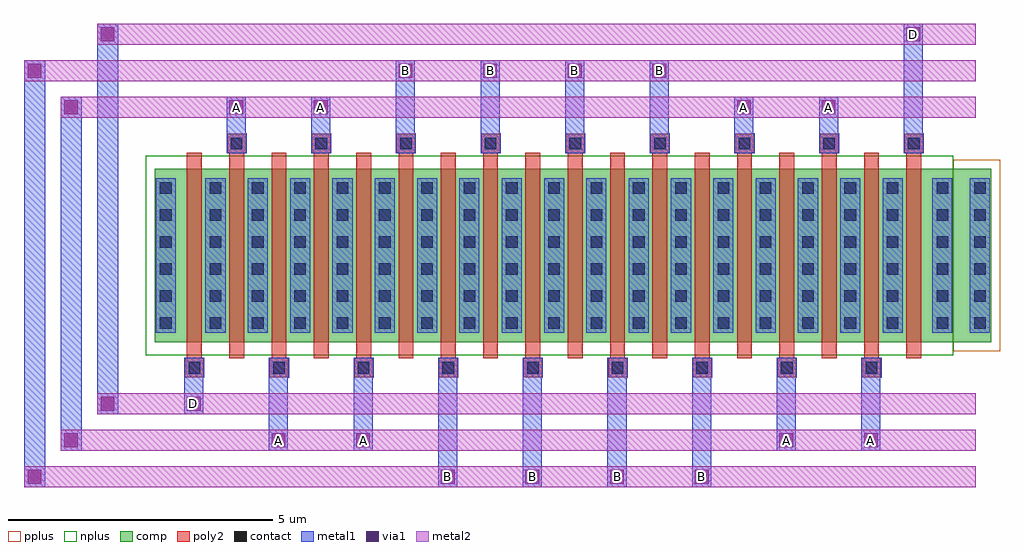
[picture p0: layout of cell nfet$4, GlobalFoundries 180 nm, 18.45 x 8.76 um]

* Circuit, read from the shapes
.subckt nfet$4 A B D
XM1 n1 D n2 VSUBS nfet_03v3 w=3.282u l=0.28u
XM2 n3 A n1 VSUBS nfet_03v3 w=3.282u l=0.28u
XM3 n4 A n3 VSUBS nfet_03v3 w=3.282u l=0.28u
XM4 n5 A n4 VSUBS nfet_03v3 w=3.282u l=0.28u
XM5 n6 A n5 VSUBS nfet_03v3 w=3.282u l=0.28u
XM6 n7 B n6 VSUBS nfet_03v3 w=3.282u l=0.28u
XM7 n8 B n7 VSUBS nfet_03v3 w=3.282u l=0.28u
XM8 n9 B n8 VSUBS nfet_03v3 w=3.282u l=0.28u
XM9 n10 B n9 VSUBS nfet_03v3 w=3.282u l=0.28u
XM10 n11 B n10 VSUBS nfet_03v3 w=3.282u l=0.28u
XM11 n12 B n11 VSUBS nfet_03v3 w=3.282u l=0.28u
XM12 n13 B n12 VSUBS nfet_03v3 w=3.282u l=0.28u
XM13 n14 B n13 VSUBS nfet_03v3 w=3.282u l=0.28u
XM14 n15 A n14 VSUBS nfet_03v3 w=3.282u l=0.28u
XM15 n16 A n15 VSUBS nfet_03v3 w=3.282u l=0.28u
XM16 n17 A n16 VSUBS nfet_03v3 w=3.282u l=0.28u
XM17 n18 A n17 VSUBS nfet_03v3 w=3.282u l=0.28u
XM18 VSUBS D n18 VSUBS nfet_03v3 w=3.282u l=0.28u
.ends

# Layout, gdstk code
import gdstk
lib = gdstk.Library(unit=1e-6, precision=1e-09)
def R(c, l, rs):  # rectangles x0, y0, x1, y1
    for r in rs: c.add(gdstk.rectangle(r[:2], r[2:], *l))
def A(c, l, x, y, w, h, nx, ny, dx, dy):  # array of equal rectangles
    R(c, l, [(x+i*dx, y+j*dy, x+i*dx+w, y+j*dy+h) for i in range(nx) for j in range(ny)])
comp = (22, 0)
poly2 = (30, 0)
pplus = (31, 0)
nplus = (32, 0)
contact = (33, 0)
metal1 = (34, 0)
via1 = (35, 0)
metal2 = (36, 0)

nfet_4 = lib.new_cell('nfet$4')
R(nfet_4, comp, [(-0.42,0,0,3.282), (0,0,14.26,3.282), (14.26,0,14.68,3.282), (14.68,0,15.39,3.282)])
A(nfet_4, poly2, 0.15, -0.66, 0.36, 0.36, 9, 1, 1.6, 0)
A(nfet_4, poly2, 0.19, -0.3, 0.28, 3.882, 18, 1, 0.8, 0)
A(nfet_4, poly2, 0.95, 3.581, 0.36, 0.36, 9, 1, 1.6, 0)
R(nfet_4, pplus, [(14.68,-0.17,15.56,3.452)])
R(nfet_4, nplus, [(-0.59,-0.24,14.68,3.522)])
A(nfet_4, contact, 0.22, -0.59, 0.22, 0.22, 9, 1, 1.6, 0)
A(nfet_4, contact, -0.32, 0.256, 0.22, 0.22, 1, 6, 0, 0.51)
A(nfet_4, contact, 0.62, 0.256, 0.22, 0.22, 17, 6, 0.8, 0.51)
A(nfet_4, contact, 14.36, 0.256, 0.22, 0.22, 1, 6, 0, 0.51)
A(nfet_4, contact, 15.07, 0.256, 0.22, 0.22, 1, 6, 0, 0.51)
A(nfet_4, contact, 1.02, 3.651, 0.22, 0.22, 9, 1, 1.6, 0)
A(nfet_4, metal1, 4.94, -2.741, 0.36, 2.452, 4, 1, 1.6, 0)
A(nfet_4, metal1, 0.14, -0.671, 0.38, 0.382, 9, 1, 1.6, 0)
A(nfet_4, metal1, 0.54, 0.176, 0.38, 2.93, 17, 1, 0.8, 0)
A(nfet_4, metal1, 0.94, 3.57, 0.38, 0.382, 9, 1, 1.6, 0)
A(nfet_4, metal1, 4.14, 3.57, 0.36, 1.762, 4, 1, 1.6, 0)
R(nfet_4, metal1, [(-2.89,-2.74,-2.49,5.332), (-2.2,-2.051,-1.8,4.643), (1.74,-2.051,2.1,-0.289), (3.34,-2.051,3.7,-0.289), (11.34,-2.051,11.7,-0.289), (12.94,-2.051,13.3,-0.289), (-1.51,-1.361,-1.11,6.023), (0.14,-1.361,0.5,-0.289), (-0.4,0.176,-0.02,3.106), (14.28,0.176,14.66,3.106), (14.99,0.176,15.37,3.106), (0.94,3.57,1.3,4.642), (2.54,3.57,2.9,4.642), (10.54,3.57,10.9,4.642), (12.14,3.57,12.5,4.642), (13.74,3.57,14.1,6.022)])
A(nfet_4, via1, 4.99, -2.671, 0.26, 0.26, 4, 1, 1.6, 0)
A(nfet_4, via1, 4.19, 5.002, 0.26, 0.26, 4, 1, 1.6, 0)
R(nfet_4, via1, [(-2.82,-2.671,-2.56,-2.411), (-2.13,-1.981,-1.87,-1.721), (1.79,-1.981,2.05,-1.721), (3.39,-1.981,3.65,-1.721), (11.39,-1.981,11.65,-1.721), (12.99,-1.981,13.25,-1.721), (-1.44,-1.291,-1.18,-1.031), (0.19,-1.291,0.45,-1.031), (-2.13,4.312,-1.87,4.572), (0.99,4.312,1.25,4.572), (2.59,4.312,2.85,4.572), (10.59,4.312,10.85,4.572), (12.19,4.312,12.45,4.572), (-2.82,5.002,-2.56,5.262), (-1.44,5.692,-1.18,5.952), (13.79,5.692,14.05,5.952)])
A(nfet_4, metal2, 0, -2.741, 15.1, 0.4, 1, 3, 0, 0.69)
A(nfet_4, metal2, 0, 4.242, 15.1, 0.4, 1, 3, 0, 0.69)
R(nfet_4, metal2, [(-2.89,-2.741,0,-2.341), (-2.2,-2.051,0,-1.651), (-1.51,-1.361,0,-0.961), (-2.2,4.242,0,4.642), (-2.89,4.932,0,5.332), (-1.51,5.622,0,6.022)])
nfet_4.add(gdstk.Label('A', (1.12,4.442), layer=36, texttype=10))
nfet_4.add(gdstk.Label('A', (2.72,4.442), layer=36, texttype=10))
nfet_4.add(gdstk.Label('A', (10.72,4.442), layer=36, texttype=10))
nfet_4.add(gdstk.Label('A', (12.32,4.442), layer=36, texttype=10))
nfet_4.add(gdstk.Label('B', (4.32,5.132), layer=36, texttype=10))
nfet_4.add(gdstk.Label('B', (5.92,5.132), layer=36, texttype=10))
nfet_4.add(gdstk.Label('B', (7.52,5.132), layer=36, texttype=10))
nfet_4.add(gdstk.Label('B', (9.12,5.132), layer=36, texttype=10))
nfet_4.add(gdstk.Label('D', (13.92,5.822), layer=36, texttype=10))
nfet_4.add(gdstk.Label('D', (0.32,-1.161), layer=36, texttype=10))
nfet_4.add(gdstk.Label('A', (1.92,-1.851), layer=36, texttype=10))
nfet_4.add(gdstk.Label('A', (3.52,-1.851), layer=36, texttype=10))
nfet_4.add(gdstk.Label('A', (11.52,-1.851), layer=36, texttype=10))
nfet_4.add(gdstk.Label('A', (13.12,-1.851), layer=36, texttype=10))
nfet_4.add(gdstk.Label('B', (5.12,-2.541), layer=36, texttype=10))
nfet_4.add(gdstk.Label('B', (6.72,-2.541), layer=36, texttype=10))
nfet_4.add(gdstk.Label('B', (8.32,-2.541), layer=36, texttype=10))
nfet_4.add(gdstk.Label('B', (9.92,-2.541), layer=36, texttype=10))

lib.write_gds('nfet_4.gds')
